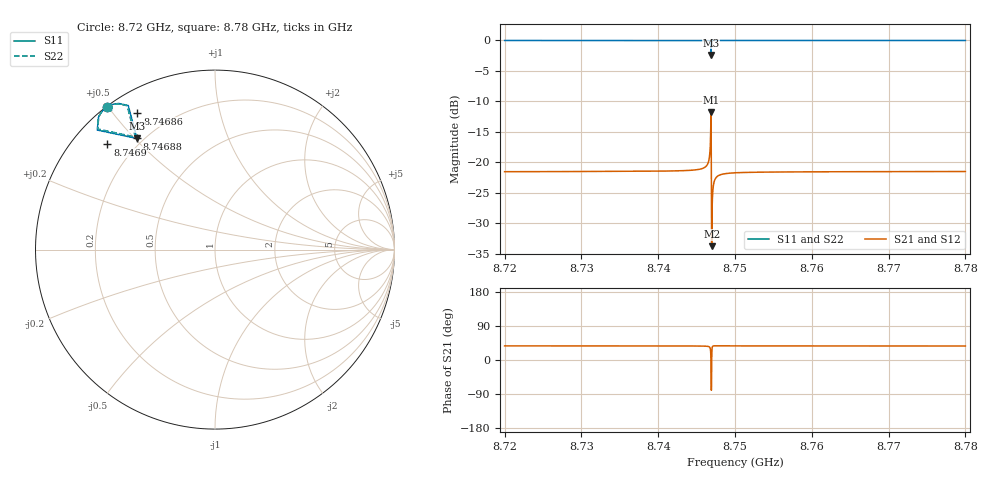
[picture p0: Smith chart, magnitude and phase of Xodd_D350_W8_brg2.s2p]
! Sonnet Data File
! From: emgraph Version : 16.52
! From Emgraph Data: Qubit_Xmon2_brg
! Data File Written: 10/25/2017 23:46:03
!< HDATE 10/25/2017 21:30:38
!< MDATE 10/25/2017 21:30:38
!< PARAMS
!< Lj = 11.0
!< Gap = 6.0
!< Pwid = 2000.0
!< Width = 10.0
!< Bwid = 8.0
!< Dis1 = 350.0
!< END PARAMS
# GHZ S MA R 34.70000
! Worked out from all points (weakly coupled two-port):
!   3001 points, 8.72 GHz to 8.78 GHz, reference 34.7 ohm
!   highest |S21| = -11.74 dB at 8.74688 GHz (marker M1); lowest = -33.7 dB at 8.74696 GHz (marker M2)
!   lowest |S11| = -2.4 dB at 8.74688 GHz (marker M3), VSWR 7.21, Z = 6.08 + j17.6 ohm
!   |S11| at or under -10 dB: nowhere
!   |S22| runs from -2.3 to 0.0 dB; largest |S21 - S12| = 0
!   S11 on the Smith chart (normalised r, x): 8.72 GHz: 0.00, +0.50; 8.74686 GHz: 0.09, +0.58; 8.74688 GHz: 0.18, +0.51; 8.7469 GHz: 0.10, +0.40; 8.78 GHz: 0.00, +0.50
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8.72  0.9965 127.2  0.08392 37.3  0.08392 37.3  0.9965 127.3
!< P1 F=8.72 Eeff=(5.13636875 -5.6768e-5) Z0=(34.6506961 -9.5188e-5) R=0.0 C=0.0
!< P2 F=8.72 Eeff=(5.13636875 -5.6768e-5) Z0=(34.6506961 -9.5188e-5) R=0.0 C=0.0
8.73  0.9964 127.2  0.08416 37.2  0.08416 37.2  0.9964 127.2
8.74  0.9964 127.1  0.08477 37.1  0.08477 37.1  0.9964 127.1
8.7457  0.996 126.8  0.08889 36.8  0.08889 36.8  0.996 126.9
8.74636  0.9951 126.4  0.09503 36.2  0.09503 36.2  0.9951 126.5
8.7465  0.9943 126.2  0.09901 35.8  0.09901 35.8  0.9944 126.3
8.7466  0.9932 125.9  0.1042 35.2  0.1042 35.2  0.9933 126.0
8.74672  0.9889 125.1  0.1184 33.2  0.1184 33.2  0.9891 125.2
8.74686  0.8731 119.7  0.2321 3.7  0.2321 3.7  0.8783 120.1
8.74688  0.7564 125.1  0.2589 -27.8  0.2589 -27.8  0.7681 125.3
8.7469  0.8387 135.7  0.1672 -66.2  0.1672 -66.2  0.8466 135.2
8.74696  0.9819 131.4  0.0206 -17.1  0.0206 -17.1  0.9828 131.2
8.74716  0.9966 128.3  0.06287 37.0  0.06287 37.0  0.9966 128.3
8.74722  0.9968 128.1  0.06663 37.3  0.06663 37.3  0.9968 128.1
8.74724  0.9968 128.1  0.06761 37.3  0.06761 37.3  0.9969 128.0
8.74732  0.9969 127.9  0.07062 37.4  0.07062 37.4  0.9969 127.9
8.7474  0.9969 127.8  0.0727 37.4  0.0727 37.4  0.997 127.8
8.74774  0.9969 127.5  0.0772 37.4  0.0772 37.4  0.9969 127.5
8.75  0.9966 127.2  0.08217 37.2  0.08217 37.2  0.9966 127.2
8.76  0.9965 127.0  0.08371 37.1  0.08371 37.1  0.9965 127.1
8.77  0.9965 127.0  0.08402 37.0  0.08402 37.0  0.9965 127.0
8.78  0.9964 126.9  0.08421 36.9  0.08421 36.9  0.9964 126.9
